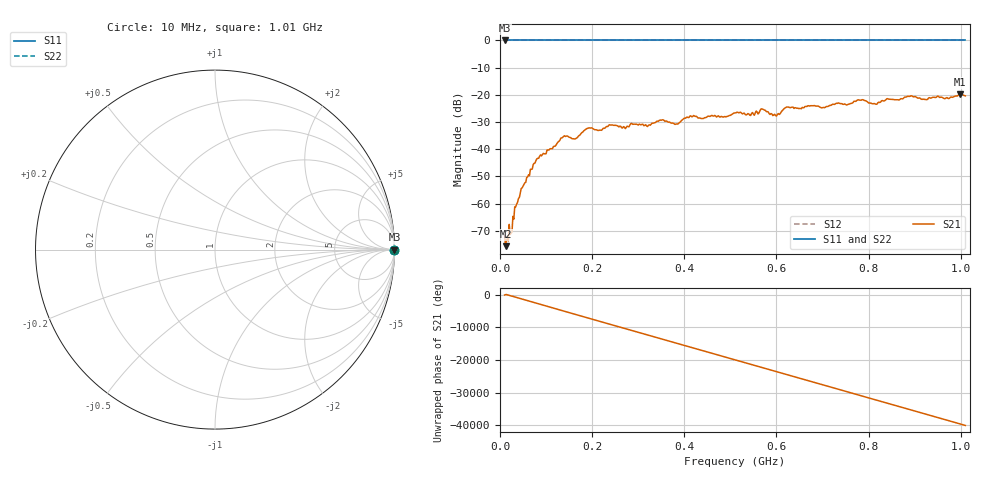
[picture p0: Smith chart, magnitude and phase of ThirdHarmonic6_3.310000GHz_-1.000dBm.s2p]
! 8/17/2025 10:20:41 AM
! C:\ANRITSUVNA\TEMP\TEMP.S2P
! CHANNEL.1
! TR.MEASUREMENT
! RAW.DATA
! RF.CORRECTION.OFF
! AVERAGING.OFF
! IF.BANDWIDTH: 5KHZ
! SWEEPTYPE:  FREQ.SWEEP(Linear)
! Reference Plane Port Info
! PORT:  PORT1  PORT2
! DISTANCE:  0  m  0  m
! TIME:  0  s  0  s
! PHASE.OFFSET:  0  deg.  0  deg.
! LOSS:  0  dB  0  dB
! REF.LOSS:  0  dB  0  dB
! REF.FREQ:  0  Hz  0  Hz
! Power Info
! POWER:  -20  dBm  -20  dBm
! EFF.POWER:  -20  dBm  -20  dBm
! SOURCE.ATTEN:  0  dB  0  dB
! TEST.ATTEN:  0  dB  0  dB
# GHZ S RI R 50.0
! FREQ.GHZ  S11RE  S11IM  S21RE  S21IM  S12RE  S12IM  S22RE  S22IM
!; PortSelection: Port_12
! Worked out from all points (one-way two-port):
!   501 points, 10 MHz to 1.01 GHz, reference 50 ohm
!   highest |S21| = -19.79 dB at 998 MHz (marker M1); lowest = -75.7 dB at 12 MHz (marker M2)
!   lowest |S11| = 0.0 dB at 10 MHz (marker M3)
!   |S11| at or under -10 dB: nowhere
!   |S22| runs from 0.0 to 0.0 dB; largest |S21 - S12| = 1.1
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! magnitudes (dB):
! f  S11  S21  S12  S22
! 10 MHz  0.0  -71.6  0.0  0.0
! 12 MHz  0.0  -75.7  0.0  0.0
! 22 MHz  0.0  -71.4  0.0  0.0
! 32 MHz  0.0  -61.2  0.0  0.0
! 48 MHz  0.0  -54.2  0.0  0.0
! 76 MHz  0.0  -45.1  0.0  0.0
! 136 MHz  0.0  -35.7  0.0  0.0
! 162 MHz  0.0  -36.3  0.0  0.0
! 178 MHz  0.0  -33.9  0.0  0.0
! 344 MHz  0.0  -29.7  0.0  0.0
! 382 MHz  0.0  -30.7  0.0  0.0
! 416 MHz  0.0  -28.1  0.0  0.0
! 510 MHz  0.0  -26.7  0.0  0.0
! 570 MHz  0.0  -25.3  0.0  0.0
! 596 MHz  0.0  -27.2  0.0  0.0
! 622 MHz  0.0  -24.5  0.0  0.0
! 678 MHz  0.0  -24.1  0.0  0.0
! 782 MHz  0.0  -22.0  0.0  0.0
! 814 MHz  0.0  -23.3  0.0  0.0
! 844 MHz  0.0  -21.6  0.0  0.0
! 998 MHz  0.0  -19.8  0.0  0.0
! 1.01 GHz  0.0  -20.4  0.0  0.0
